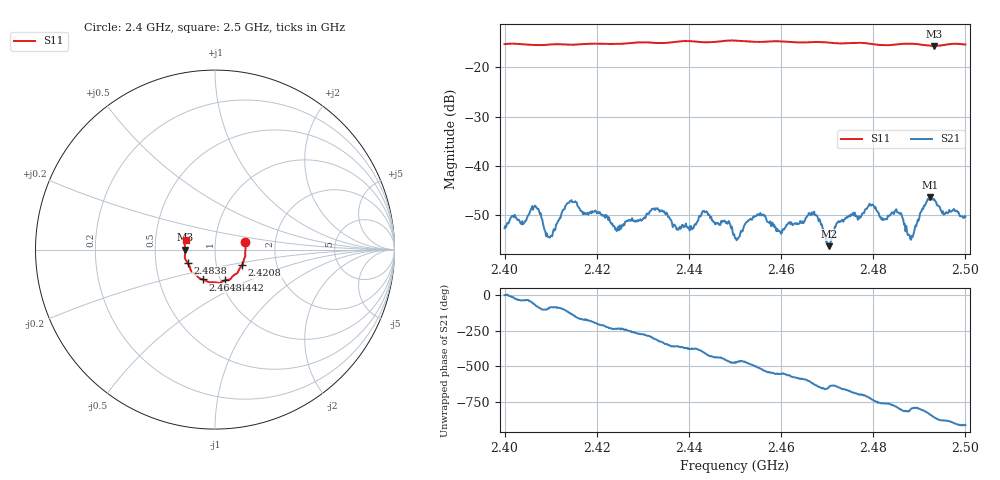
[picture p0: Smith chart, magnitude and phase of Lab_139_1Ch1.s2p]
# Hz S RI R 50
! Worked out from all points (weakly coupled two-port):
!   601 points, 2.4 GHz to 2.5 GHz, reference 50 ohm
!   highest |S21| = -46.48 dB at 2.4923 GHz (marker M1); lowest = -56.4 dB at 2.4703 GHz (marker M2)
!   lowest |S11| = -15.6 dB at 2.4932 GHz (marker M3), VSWR 1.40, Z = 35.8 - j0.0805 ohm
!   |S11| at or under -10 dB: start of sweep to end of sweep
!   S12 and S22 are empty: the file has one direction only
!   S11 on the Smith chart (normalised r, x): 2.4 GHz: 1.40, +0.12; 2.4208 GHz: 1.33, -0.24; 2.4442 GHz: 1.05, -0.37; 2.4648 GHz: 0.83, -0.28; 2.4838 GHz: 0.73, -0.11; 2.5 GHz: 0.72, +0.08
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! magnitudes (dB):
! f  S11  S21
! 2.4 GHz  -15.3  -52.8
! 2.4068 GHz  -15.4  -48.5
! 2.4098 GHz  -15.3  -54.7
! 2.414 GHz  -15.4  -47.6
! 2.4167 GHz  -15.3  -49.2
! 2.4208 GHz  -15.2  -49.9
! 2.4243 GHz  -15.2  -53.3
! 2.4333 GHz  -15.0  -48.9
! 2.4377 GHz  -14.7  -53.1
! 2.4442 GHz  -14.9  -50.1
! 2.45 GHz  -14.5  -54.8
! 2.455 GHz  -14.8  -50.0
! 2.4648 GHz  -14.9  -51.7
! 2.4667 GHz  -14.8  -49.5
! 2.4703 GHz  -14.9  -56.4
! 2.4793 GHz  -15.2  -47.9
! 2.4833 GHz  -15.5  -50.3
! 2.4838 GHz  -15.4  -49.9
! 2.4882 GHz  -15.2  -55.1
! 2.4923 GHz  -15.6  -46.5
! 2.4932 GHz  -15.6  -46.8
! 2.5 GHz  -15.3  -50.4
